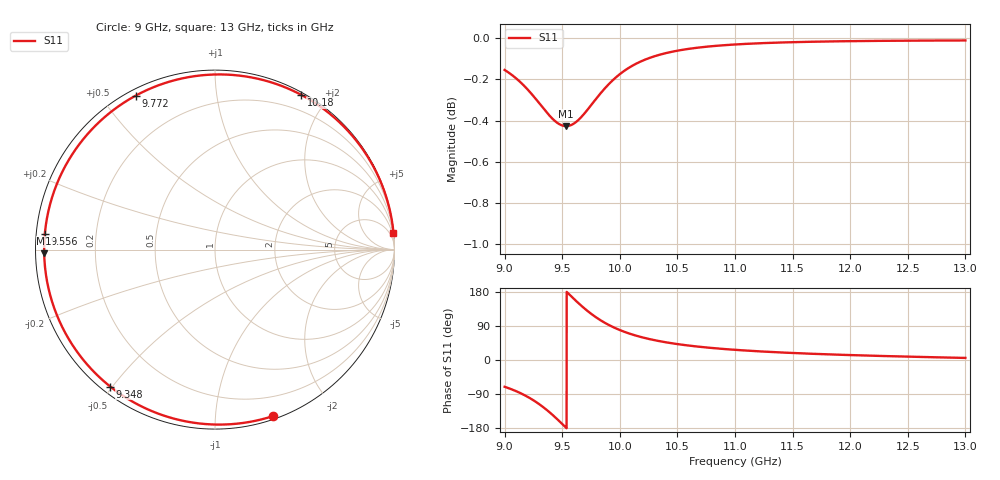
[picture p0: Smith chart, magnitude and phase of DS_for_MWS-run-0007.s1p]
! TOUCHSTONE file generated by CST DESIGN STUDIO
! Date and time: Tue Feb  4 13:56:54 2025
! Project name: C:\Work\MatlabApps\UnitCellOptimizationMatlab\CST\unitcell.cst
! Tree item: Tasks\Sweep1\SPara1\S-Parameters
! Header version: 2024
! Port assignment regex: !\s*Touchstone port\s*([0-9]+)\s*=\s*(CST MWS port|CST DES external port|CST DES block port)\s*(.+)\s* \(\"(.*)\"\)(\s*mode\s*([0-9]+))?.*
! Touchstone port assignment:
! Touchstone port 1 = CST DES external port 1 ("")
# GHz S MA R 50
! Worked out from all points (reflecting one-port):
!   4001 points, 9 GHz to 13 GHz, reference 50 ohm
!   lowest |S11| = -0.4 dB at 9.534 GHz (marker M1), VSWR 40.69, Z = 1.23 - j0.529 ohm
!   phase of S11 starts at -71 deg and turns -284 deg over the sweep
!   S11 on the Smith chart (normalised r, x): 9 GHz: 0.03, -1.41; 9.348 GHz: 0.02, -0.49; 9.556 GHz: 0.02, +0.05; 9.772 GHz: 0.02, +0.61; 10.18 GHz: 0.03, +1.70; 13 GHz: 0, +21
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9  0.9824 -70.6
9.097  0.978 -81.9
9.205  0.9714 -98.1
9.28  0.9659 -112.2
9.348  0.9607 -127.4
9.42  0.9557 -145.9
9.462  0.9536 -157.6
9.5  0.9524 -168.7
9.534  0.952 -178.8
9.556  0.9522 174.7
9.61  0.9538 158.8
9.67  0.9572 142.1
9.721  0.9609 129.1
9.772  0.9649 117.3
9.82  0.9687 107.3
9.873  0.9726 97.6
9.932  0.9764 88.3
10  0.9801 79.0
10.087  0.9839 69.3
10.182  0.9871 60.8
10.327  0.9905 50.8
10.5  0.9931 42.0
10.721  0.9951 34.0
11  0.9965 26.8
11.5  0.9978 18.5
12  0.9984 13.0
12.5  0.9987 8.9
13  0.9988 5.5
